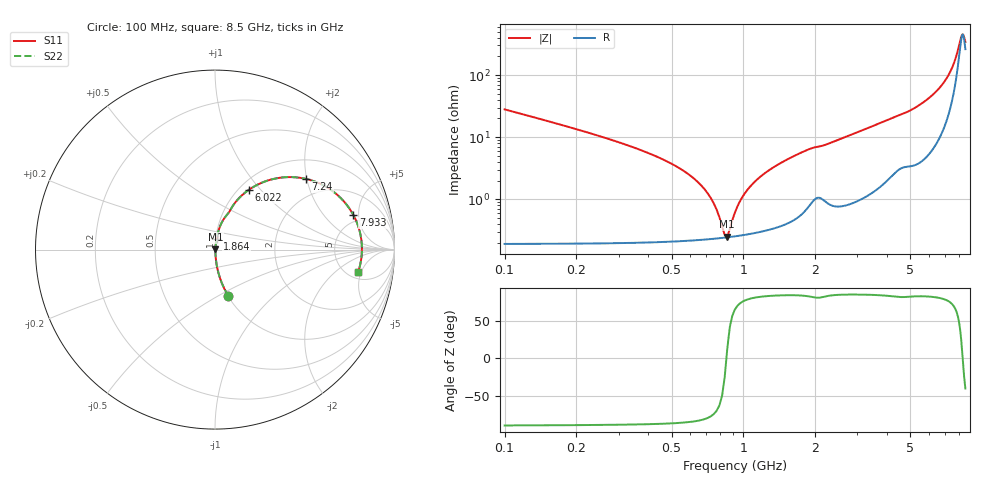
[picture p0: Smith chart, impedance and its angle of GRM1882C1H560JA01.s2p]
!Murata Part Number: GRM1882C1H560JA01
!These Parameters are Measured in Series Mode Connection
!Data Generated on Mar 30, 2021
!  o--ll--o
!Port1  Port2
!  o------o
!Operation Temp=25[degC], DC Bias Voltage=0[V]
!Freq. Start=100[MHz] Stop=9[GHz] 401[Steps]
# Hz S RI R 50
!Freq.(Hz) S11(Real) S11(Imag) S21(Real) S21(Imag) S12(Real) S12(Imag) S22(Real) S22(Imag)
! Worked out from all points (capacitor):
!   401 points, 100 MHz to 8.5 GHz, reference 50 ohm
!   read as one part in series: C = 56 pF near 142 MHz
!   lowest |Z| = 250 mohm at 856 MHz (marker M1)
!   series resonance near 848.8 MHz, so ESL is about 630 pH
!   S11 on the Smith chart (normalised r, x): 100 MHz: 1.00, -0.56; 1.864 GHz: 1.01, +0.13; 6.022 GHz: 1.11, +0.87; 7.24 GHz: 1.48, +1.98; 7.933 GHz: 4.08, +4.29; 8.5 GHz: 6.23, -4.40
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1e8  0.0744 -0.259  0.9256 0.259  0.9256 0.259  0.0744 -0.259
2.89e8  0.00943 -0.0861  0.9906 0.0861  0.9906 0.0861  0.00943 -0.0861
6.46e8  0.00254 -0.0185  0.9975 0.0185  0.9975 0.0185  0.00254 -0.0185
7.3e8  0.00238 -0.0102  0.9976 0.0102  0.9976 0.0102  0.00238 -0.0102
8.14e8  0.00238 -0.00282  0.9976 0.00282  0.9976 0.00282  0.00238 -0.00282
8.56e8  0.00243 0.000577  0.9976 -0.000577  0.9976 -0.000577  0.00243 0.000577
8.77e8  0.00246 0.00221  0.9975 -0.00221  0.9975 -0.00221  0.00246 0.00221
9.82e8  0.00271 0.00992  0.9973 -0.00992  0.9973 -0.00992  0.00271 0.00992
1.087e9  0.00308 0.017  0.9969 -0.017  0.9969 -0.017  0.00308 0.017
1.255e9  0.0039 0.0275  0.9961 -0.0275  0.9961 -0.0275  0.0039 0.0275
1.507e9  0.00573 0.0421  0.9943 -0.0421  0.9943 -0.0421  0.00573 0.0421
1.864e9  0.0111 0.0614  0.9889 -0.0614  0.9889 -0.0614  0.0111 0.0614
2.914e9  0.0215 0.1114  0.9785 -0.1114  0.9785 -0.1114  0.0215 0.1114
4.3e9  0.0648 0.1913  0.9352 -0.1913  0.9352 -0.1913  0.0648 0.1913
5.707e9  0.1484 0.301  0.8516 -0.301  0.8516 -0.301  0.1484 0.301
6.022e9  0.1885 0.333  0.8115 -0.333  0.8115 -0.333  0.1885 0.333
7.114e9  0.459 0.4019  0.541 -0.4019  0.541 -0.4019  0.459 0.4019
7.24e9  0.507 0.3939  0.493 -0.3939  0.493 -0.3939  0.507 0.3939
7.618e9  0.6609 0.3217  0.3391 -0.3217  0.3391 -0.3217  0.6609 0.3217
7.933e9  0.7702 0.194  0.2298 -0.194  0.2298 -0.194  0.7702 0.194
8.248e9  0.8183 0.0193  0.1817 -0.0193  0.1817 -0.0193  0.8183 0.0193
8.5e9  0.7982 -0.1229  0.2018 0.1229  0.2018 0.1229  0.7982 -0.1229
